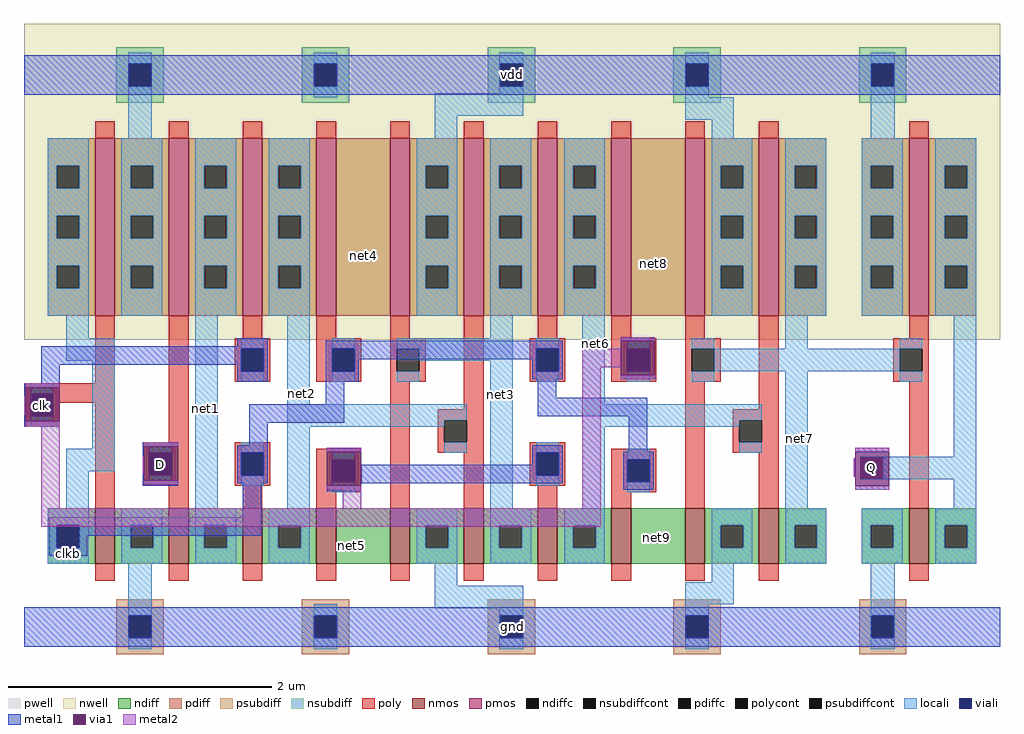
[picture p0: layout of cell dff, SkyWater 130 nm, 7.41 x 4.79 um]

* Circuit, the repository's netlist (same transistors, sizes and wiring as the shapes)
* SPICE3 file created from dff.ext - technology: sky130A


.subckt dff D Q clk vdd gnd
X0 vdd net3 net4 vdd sky130_fd_pr__pfet_01v8 ad=0 pd=0 as=0 ps=0 w=1.35 l=0.15
X1 gnd net3 net5 gnd sky130_fd_pr__nfet_01v8 ad=0 pd=0 as=0 ps=0 w=0.42 l=0.15
X2 net9 clkb net6 gnd sky130_fd_pr__nfet_01v8 ad=0 pd=0 as=0 ps=0 w=0.42 l=0.15
X3 gnd net7 net9 gnd sky130_fd_pr__nfet_01v8 ad=0 pd=0 as=0 ps=0 w=0.42 l=0.15
X4 gnd clk clkb gnd sky130_fd_pr__nfet_01v8 ad=0 pd=0 as=0 ps=0 w=0.42 l=0.15
X5 net6 clk net3 gnd sky130_fd_pr__nfet_01v8 ad=0 pd=0 as=0 ps=0 w=0.42 l=0.15
X6 net3 net2 gnd gnd sky130_fd_pr__nfet_01v8 ad=0 pd=0 as=0 ps=0 w=0.42 l=0.15
X7 net4 clkb net2 vdd sky130_fd_pr__pfet_01v8 ad=0 pd=0 as=0 ps=0 w=1.35 l=0.15
X8 net7 net6 vdd vdd sky130_fd_pr__pfet_01v8 ad=0 pd=0 as=0 ps=0 w=1.35 l=0.15
X9 net7 net6 gnd gnd sky130_fd_pr__nfet_01v8 ad=0 pd=0 as=0 ps=0 w=0.42 l=0.15
X10 net1 D vdd vdd sky130_fd_pr__pfet_01v8 ad=0 pd=0 as=0 ps=0 w=1.35 l=0.15
X11 Q net7 vdd vdd sky130_fd_pr__pfet_01v8 ad=0 pd=0 as=0 ps=0 w=1.35 l=0.15
X12 vdd clk clkb vdd sky130_fd_pr__pfet_01v8 ad=0 pd=0 as=0 ps=0 w=1.35 l=0.15
X13 net2 clk net1 vdd sky130_fd_pr__pfet_01v8 ad=0 pd=0 as=0 ps=0 w=1.35 l=0.15
X14 net8 clk net6 vdd sky130_fd_pr__pfet_01v8 ad=0 pd=0 as=0 ps=0 w=1.35 l=0.15
X15 vdd net7 net8 vdd sky130_fd_pr__pfet_01v8 ad=0 pd=0 as=0 ps=0 w=1.35 l=0.15
X16 net3 net2 vdd vdd sky130_fd_pr__pfet_01v8 ad=0 pd=0 as=0 ps=0 w=1.35 l=0.15
X17 net6 clkb net3 vdd sky130_fd_pr__pfet_01v8 ad=0 pd=0 as=0 ps=0 w=1.35 l=0.15
X18 Q net7 gnd gnd sky130_fd_pr__nfet_01v8 ad=0 pd=0 as=0 ps=0 w=0.42 l=0.15
X19 net5 clk net2 gnd sky130_fd_pr__nfet_01v8 ad=0 pd=0 as=0 ps=0 w=0.42 l=0.15
X20 net1 D gnd gnd sky130_fd_pr__nfet_01v8 ad=0 pd=0 as=0 ps=0 w=0.42 l=0.15
X21 net2 clkb net1 gnd sky130_fd_pr__nfet_01v8 ad=0 pd=0 as=0 ps=0 w=0.42 l=0.15
.ends

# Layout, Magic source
magic
tech sky130A
magscale 1 2
<< nwell >>
rect 0 436 1482 916
<< pwell >>
rect 140 -42 212 42
rect 422 -42 494 42
rect 704 -42 776 42
rect 986 -42 1058 42
rect 1268 -42 1340 42
<< nmos >>
rect 108 96 138 180
rect 220 96 250 180
rect 332 96 362 180
rect 444 96 474 180
rect 556 96 586 180
rect 668 96 698 180
rect 780 96 810 180
rect 892 96 922 180
rect 1004 96 1034 180
rect 1116 96 1146 180
rect 1344 96 1374 180
<< pmos >>
rect 108 472 138 742
rect 220 472 250 742
rect 332 472 362 742
rect 444 472 474 742
rect 556 472 586 742
rect 668 472 698 742
rect 780 472 810 742
rect 892 472 922 742
rect 1004 472 1034 742
rect 1116 472 1146 742
rect 1344 472 1374 742
<< ndiff >>
rect 36 154 108 180
rect 36 120 50 154
rect 84 120 108 154
rect 36 96 108 120
rect 138 154 220 180
rect 138 120 162 154
rect 196 120 220 154
rect 138 96 220 120
rect 250 154 332 180
rect 250 120 274 154
rect 308 120 332 154
rect 250 96 332 120
rect 362 154 444 180
rect 362 120 386 154
rect 420 120 444 154
rect 362 96 444 120
rect 474 96 556 180
rect 586 154 668 180
rect 586 120 610 154
rect 644 120 668 154
rect 586 96 668 120
rect 698 154 780 180
rect 698 120 722 154
rect 756 120 780 154
rect 698 96 780 120
rect 810 154 892 180
rect 810 120 834 154
rect 868 120 892 154
rect 810 96 892 120
rect 922 96 1004 180
rect 1034 154 1116 180
rect 1034 120 1058 154
rect 1092 120 1116 154
rect 1034 96 1116 120
rect 1146 154 1218 180
rect 1146 120 1170 154
rect 1204 120 1218 154
rect 1146 96 1218 120
rect 1272 154 1344 180
rect 1272 120 1286 154
rect 1320 120 1344 154
rect 1272 96 1344 120
rect 1374 154 1446 180
rect 1374 120 1398 154
rect 1432 120 1446 154
rect 1374 96 1446 120
<< pdiff >>
rect 36 700 108 742
rect 36 666 50 700
rect 84 666 108 700
rect 36 624 108 666
rect 36 590 50 624
rect 84 590 108 624
rect 36 548 108 590
rect 36 514 50 548
rect 84 514 108 548
rect 36 472 108 514
rect 138 700 220 742
rect 138 666 162 700
rect 196 666 220 700
rect 138 624 220 666
rect 138 590 162 624
rect 196 590 220 624
rect 138 548 220 590
rect 138 514 162 548
rect 196 514 220 548
rect 138 472 220 514
rect 250 700 332 742
rect 250 666 274 700
rect 308 666 332 700
rect 250 624 332 666
rect 250 590 274 624
rect 308 590 332 624
rect 250 548 332 590
rect 250 514 274 548
rect 308 514 332 548
rect 250 472 332 514
rect 362 700 444 742
rect 362 666 386 700
rect 420 666 444 700
rect 362 624 444 666
rect 362 590 386 624
rect 420 590 444 624
rect 362 548 444 590
rect 362 514 386 548
rect 420 514 444 548
rect 362 472 444 514
rect 474 472 556 742
rect 586 700 668 742
rect 586 666 610 700
rect 644 666 668 700
rect 586 624 668 666
rect 586 590 610 624
rect 644 590 668 624
rect 586 548 668 590
rect 586 514 610 548
rect 644 514 668 548
rect 586 472 668 514
rect 698 700 780 742
rect 698 666 722 700
rect 756 666 780 700
rect 698 624 780 666
rect 698 590 722 624
rect 756 590 780 624
rect 698 548 780 590
rect 698 514 722 548
rect 756 514 780 548
rect 698 472 780 514
rect 810 700 892 742
rect 810 666 834 700
rect 868 666 892 700
rect 810 624 892 666
rect 810 590 834 624
rect 868 590 892 624
rect 810 548 892 590
rect 810 514 834 548
rect 868 514 892 548
rect 810 472 892 514
rect 922 472 1004 742
rect 1034 700 1116 742
rect 1034 666 1058 700
rect 1092 666 1116 700
rect 1034 624 1116 666
rect 1034 590 1058 624
rect 1092 590 1116 624
rect 1034 548 1116 590
rect 1034 514 1058 548
rect 1092 514 1116 548
rect 1034 472 1116 514
rect 1146 700 1218 742
rect 1146 666 1170 700
rect 1204 666 1218 700
rect 1146 624 1218 666
rect 1146 590 1170 624
rect 1204 590 1218 624
rect 1146 548 1218 590
rect 1146 514 1170 548
rect 1204 514 1218 548
rect 1146 472 1218 514
rect 1272 700 1344 742
rect 1272 666 1286 700
rect 1320 666 1344 700
rect 1272 624 1344 666
rect 1272 590 1286 624
rect 1320 590 1344 624
rect 1272 548 1344 590
rect 1272 514 1286 548
rect 1320 514 1344 548
rect 1272 472 1344 514
rect 1374 700 1446 742
rect 1374 666 1398 700
rect 1432 666 1446 700
rect 1374 624 1446 666
rect 1374 590 1398 624
rect 1432 590 1446 624
rect 1374 548 1446 590
rect 1374 514 1398 548
rect 1432 514 1446 548
rect 1374 472 1446 514
<< ndiffc >>
rect 50 120 84 154
rect 162 120 196 154
rect 274 120 308 154
rect 386 120 420 154
rect 610 120 644 154
rect 722 120 756 154
rect 834 120 868 154
rect 1058 120 1092 154
rect 1170 120 1204 154
rect 1286 120 1320 154
rect 1398 120 1432 154
<< pdiffc >>
rect 50 666 84 700
rect 50 590 84 624
rect 50 514 84 548
rect 162 666 196 700
rect 162 590 196 624
rect 162 514 196 548
rect 274 666 308 700
rect 274 590 308 624
rect 274 514 308 548
rect 386 666 420 700
rect 386 590 420 624
rect 386 514 420 548
rect 610 666 644 700
rect 610 590 644 624
rect 610 514 644 548
rect 722 666 756 700
rect 722 590 756 624
rect 722 514 756 548
rect 834 666 868 700
rect 834 590 868 624
rect 834 514 868 548
rect 1058 666 1092 700
rect 1058 590 1092 624
rect 1058 514 1092 548
rect 1170 666 1204 700
rect 1170 590 1204 624
rect 1170 514 1204 548
rect 1286 666 1320 700
rect 1286 590 1320 624
rect 1286 514 1320 548
rect 1398 666 1432 700
rect 1398 590 1432 624
rect 1398 514 1432 548
<< psubdiff >>
rect 140 17 212 42
rect 140 -17 159 17
rect 193 -17 212 17
rect 140 -42 212 -17
rect 422 17 494 42
rect 422 -17 441 17
rect 475 -17 494 17
rect 422 -42 494 -17
rect 704 17 776 42
rect 704 -17 723 17
rect 757 -17 776 17
rect 704 -42 776 -17
rect 986 17 1058 42
rect 986 -17 1005 17
rect 1039 -17 1058 17
rect 986 -42 1058 -17
rect 1268 17 1340 42
rect 1268 -17 1287 17
rect 1321 -17 1340 17
rect 1268 -42 1340 -17
<< nsubdiff >>
rect 140 855 212 880
rect 140 821 159 855
rect 193 821 212 855
rect 140 796 212 821
rect 422 855 494 880
rect 422 821 441 855
rect 475 821 494 855
rect 422 796 494 821
rect 704 855 776 880
rect 704 821 723 855
rect 757 821 776 855
rect 704 796 776 821
rect 986 855 1058 880
rect 986 821 1005 855
rect 1039 821 1058 855
rect 986 796 1058 821
rect 1268 855 1340 880
rect 1268 821 1287 855
rect 1321 821 1340 855
rect 1268 796 1340 821
<< psubdiffcont >>
rect 159 -17 193 17
rect 441 -17 475 17
rect 723 -17 757 17
rect 1005 -17 1039 17
rect 1287 -17 1321 17
<< nsubdiffcont >>
rect 159 821 193 855
rect 441 821 475 855
rect 723 821 757 855
rect 1005 821 1039 855
rect 1287 821 1321 855
<< poly >>
rect 108 742 138 768
rect 220 742 250 768
rect 332 742 362 768
rect 444 742 474 768
rect 556 742 586 768
rect 668 742 698 768
rect 780 742 810 768
rect 892 742 922 768
rect 1004 742 1034 768
rect 1116 742 1146 768
rect 1344 742 1374 768
rect 108 370 138 472
rect 0 354 138 370
rect 0 320 10 354
rect 44 340 138 354
rect 44 320 54 340
rect 0 304 54 320
rect 108 180 138 340
rect 220 280 250 472
rect 332 438 362 472
rect 444 438 474 472
rect 556 438 586 472
rect 320 422 374 438
rect 320 388 330 422
rect 364 388 374 422
rect 320 372 374 388
rect 444 422 512 438
rect 444 388 468 422
rect 502 388 512 422
rect 444 372 512 388
rect 556 422 610 438
rect 556 388 566 422
rect 600 388 610 422
rect 556 372 610 388
rect 180 264 250 280
rect 180 230 190 264
rect 224 230 250 264
rect 180 214 250 230
rect 320 264 374 280
rect 320 230 330 264
rect 364 230 374 264
rect 320 214 374 230
rect 444 254 512 270
rect 444 220 468 254
rect 502 220 512 254
rect 220 180 250 214
rect 332 180 362 214
rect 444 204 512 220
rect 444 180 474 204
rect 556 180 586 372
rect 668 330 698 472
rect 780 438 810 472
rect 892 438 922 472
rect 1004 438 1034 472
rect 768 422 822 438
rect 768 388 778 422
rect 812 388 822 422
rect 768 372 822 388
rect 892 422 960 438
rect 892 388 916 422
rect 950 388 960 422
rect 892 372 960 388
rect 1004 422 1058 438
rect 1004 388 1014 422
rect 1048 388 1058 422
rect 1004 372 1058 388
rect 628 314 698 330
rect 628 280 638 314
rect 672 280 698 314
rect 628 264 698 280
rect 668 180 698 264
rect 768 264 822 280
rect 768 230 778 264
rect 812 230 822 264
rect 768 214 822 230
rect 892 254 960 270
rect 892 220 916 254
rect 950 220 960 254
rect 780 180 810 214
rect 892 204 960 220
rect 892 180 922 204
rect 1004 180 1034 372
rect 1116 330 1146 472
rect 1344 438 1374 472
rect 1320 422 1374 438
rect 1320 388 1330 422
rect 1364 388 1374 422
rect 1320 372 1374 388
rect 1076 314 1146 330
rect 1076 280 1086 314
rect 1120 280 1146 314
rect 1076 264 1146 280
rect 1116 180 1146 264
rect 1344 180 1374 372
rect 108 70 138 96
rect 220 70 250 96
rect 332 70 362 96
rect 444 70 474 96
rect 556 70 586 96
rect 668 70 698 96
rect 780 70 810 96
rect 892 70 922 96
rect 1004 70 1034 96
rect 1116 70 1146 96
rect 1344 70 1374 96
<< polycont >>
rect 10 320 44 354
rect 330 388 364 422
rect 468 388 502 422
rect 566 388 600 422
rect 190 230 224 264
rect 330 230 364 264
rect 468 220 502 254
rect 778 388 812 422
rect 916 388 950 422
rect 1014 388 1048 422
rect 638 280 672 314
rect 778 230 812 264
rect 916 220 950 254
rect 1330 388 1364 422
rect 1086 280 1120 314
<< locali >>
rect 158 855 194 872
rect 158 821 159 855
rect 193 821 194 855
rect 158 742 194 821
rect 440 855 476 872
rect 440 821 441 855
rect 475 821 476 855
rect 440 804 476 821
rect 722 855 758 872
rect 722 821 723 855
rect 757 821 758 855
rect 722 810 758 821
rect 624 776 758 810
rect 1004 855 1040 872
rect 1004 821 1005 855
rect 1039 821 1040 855
rect 1004 804 1040 821
rect 1286 855 1322 872
rect 1286 821 1287 855
rect 1321 821 1322 855
rect 624 742 658 776
rect 1004 770 1078 804
rect 1044 742 1078 770
rect 1286 742 1322 821
rect 36 700 98 742
rect 36 666 50 700
rect 84 666 98 700
rect 36 624 98 666
rect 36 590 50 624
rect 84 590 98 624
rect 36 548 98 590
rect 36 514 50 548
rect 84 514 98 548
rect 36 472 98 514
rect 148 700 210 742
rect 148 666 162 700
rect 196 666 210 700
rect 148 624 210 666
rect 148 590 162 624
rect 196 590 210 624
rect 148 548 210 590
rect 148 514 162 548
rect 196 514 210 548
rect 148 472 210 514
rect 260 700 322 742
rect 260 666 274 700
rect 308 666 322 700
rect 260 624 322 666
rect 260 590 274 624
rect 308 590 322 624
rect 260 548 322 590
rect 260 514 274 548
rect 308 514 322 548
rect 260 472 322 514
rect 372 700 434 742
rect 372 666 386 700
rect 420 666 434 700
rect 372 624 434 666
rect 372 590 386 624
rect 420 590 434 624
rect 372 548 434 590
rect 372 514 386 548
rect 420 514 434 548
rect 372 472 434 514
rect 596 700 658 742
rect 596 666 610 700
rect 644 666 658 700
rect 596 624 658 666
rect 596 590 610 624
rect 644 590 658 624
rect 596 548 658 590
rect 596 514 610 548
rect 644 514 658 548
rect 596 472 658 514
rect 708 700 770 742
rect 708 666 722 700
rect 756 666 770 700
rect 708 624 770 666
rect 708 590 722 624
rect 756 590 770 624
rect 708 548 770 590
rect 708 514 722 548
rect 756 514 770 548
rect 708 472 770 514
rect 820 700 882 742
rect 820 666 834 700
rect 868 666 882 700
rect 820 624 882 666
rect 820 590 834 624
rect 868 590 882 624
rect 820 548 882 590
rect 820 514 834 548
rect 868 514 882 548
rect 820 472 882 514
rect 1044 700 1106 742
rect 1044 666 1058 700
rect 1092 666 1106 700
rect 1044 624 1106 666
rect 1044 590 1058 624
rect 1092 590 1106 624
rect 1044 548 1106 590
rect 1044 514 1058 548
rect 1092 514 1106 548
rect 1044 472 1106 514
rect 1156 700 1218 742
rect 1156 666 1170 700
rect 1204 666 1218 700
rect 1156 624 1218 666
rect 1156 590 1170 624
rect 1204 590 1218 624
rect 1156 548 1218 590
rect 1156 514 1170 548
rect 1204 514 1218 548
rect 1156 472 1218 514
rect 1272 700 1334 742
rect 1272 666 1286 700
rect 1320 666 1334 700
rect 1272 624 1334 666
rect 1272 590 1286 624
rect 1320 590 1334 624
rect 1272 548 1334 590
rect 1272 514 1286 548
rect 1320 514 1334 548
rect 1272 472 1334 514
rect 1384 700 1446 742
rect 1384 666 1398 700
rect 1432 666 1446 700
rect 1384 624 1446 666
rect 1384 590 1398 624
rect 1432 590 1446 624
rect 1384 548 1446 590
rect 1384 514 1398 548
rect 1432 514 1446 548
rect 1384 472 1446 514
rect 64 438 98 472
rect 64 404 138 438
rect 10 354 44 370
rect 10 304 44 320
rect 104 270 138 404
rect 64 236 138 270
rect 190 264 224 280
rect 64 180 98 236
rect 190 214 224 230
rect 260 180 294 472
rect 330 422 364 438
rect 330 372 364 388
rect 400 338 434 472
rect 708 438 742 472
rect 468 422 502 438
rect 468 372 502 388
rect 566 422 742 438
rect 600 404 742 422
rect 566 372 600 388
rect 400 314 672 338
rect 400 304 638 314
rect 330 264 364 280
rect 330 214 364 230
rect 400 180 434 304
rect 468 254 502 270
rect 638 264 672 280
rect 468 204 502 220
rect 708 180 742 404
rect 778 422 812 438
rect 778 372 812 388
rect 848 338 882 472
rect 916 422 950 438
rect 916 372 950 388
rect 1014 422 1048 438
rect 1156 422 1190 472
rect 1330 422 1364 438
rect 1048 388 1330 422
rect 1014 372 1048 388
rect 848 314 1120 338
rect 848 304 1086 314
rect 778 264 812 280
rect 778 214 812 230
rect 848 180 882 304
rect 916 254 950 270
rect 1086 264 1120 280
rect 916 204 950 220
rect 1156 180 1190 388
rect 1330 372 1364 388
rect 1412 258 1446 472
rect 1304 224 1446 258
rect 1412 180 1446 224
rect 36 154 98 180
rect 36 120 50 154
rect 84 120 98 154
rect 36 96 98 120
rect 148 154 210 180
rect 148 120 162 154
rect 196 120 210 154
rect 148 96 210 120
rect 260 154 322 180
rect 260 120 274 154
rect 308 120 322 154
rect 260 96 322 120
rect 372 154 434 180
rect 372 120 386 154
rect 420 120 434 154
rect 372 96 434 120
rect 596 154 658 180
rect 596 120 610 154
rect 644 120 658 154
rect 596 96 658 120
rect 708 154 770 180
rect 708 120 722 154
rect 756 120 770 154
rect 708 96 770 120
rect 820 154 882 180
rect 820 120 834 154
rect 868 120 882 154
rect 820 96 882 120
rect 1044 154 1106 180
rect 1044 120 1058 154
rect 1092 120 1106 154
rect 1044 96 1106 120
rect 1156 154 1218 180
rect 1156 120 1170 154
rect 1204 120 1218 154
rect 1156 96 1218 120
rect 1272 154 1334 180
rect 1272 120 1286 154
rect 1320 120 1334 154
rect 1272 96 1334 120
rect 1384 154 1446 180
rect 1384 120 1398 154
rect 1432 120 1446 154
rect 1384 96 1446 120
rect 158 17 194 96
rect 624 62 658 96
rect 1044 68 1078 96
rect 158 -17 159 17
rect 193 -17 194 17
rect 158 -34 194 -17
rect 440 17 476 34
rect 624 28 758 62
rect 440 -17 441 17
rect 475 -17 476 17
rect 440 -34 476 -17
rect 722 17 758 28
rect 722 -17 723 17
rect 757 -17 758 17
rect 722 -34 758 -17
rect 1004 34 1078 68
rect 1004 17 1040 34
rect 1004 -17 1005 17
rect 1039 -17 1040 17
rect 1004 -34 1040 -17
rect 1286 17 1322 96
rect 1286 -17 1287 17
rect 1321 -17 1322 17
rect 1286 -34 1322 -17
<< viali >>
rect 159 821 193 855
rect 441 821 475 855
rect 723 821 757 855
rect 1005 821 1039 855
rect 1287 821 1321 855
rect 10 320 44 354
rect 190 230 224 264
rect 330 388 364 422
rect 468 388 502 422
rect 330 230 364 264
rect 468 220 502 254
rect 778 388 812 422
rect 916 388 950 422
rect 778 230 812 264
rect 916 220 950 254
rect 1270 224 1304 258
rect 50 120 84 154
rect 159 -17 193 17
rect 441 -17 475 17
rect 723 -17 757 17
rect 1005 -17 1039 17
rect 1287 -17 1321 17
<< metal1 >>
rect 0 855 1482 868
rect 0 821 159 855
rect 193 821 441 855
rect 475 821 723 855
rect 757 821 1005 855
rect 1039 821 1287 855
rect 1321 821 1482 855
rect 0 808 1482 821
rect 324 426 370 438
rect 906 434 958 440
rect 26 422 370 426
rect 26 398 330 422
rect 26 370 54 398
rect 324 388 330 398
rect 364 388 370 422
rect 324 372 370 388
rect 458 422 818 434
rect 458 388 468 422
rect 502 406 778 422
rect 502 388 508 406
rect 458 372 508 388
rect 772 388 778 406
rect 812 388 818 422
rect 772 376 818 388
rect 906 376 958 382
rect 0 364 54 370
rect 0 312 2 364
rect 458 338 486 372
rect 0 304 54 312
rect 342 310 486 338
rect 780 348 808 376
rect 780 320 946 348
rect 180 274 234 280
rect 342 276 370 310
rect 180 222 182 274
rect 180 214 234 222
rect 324 264 370 276
rect 324 230 330 264
rect 364 230 370 264
rect 324 218 370 230
rect 460 266 512 272
rect 772 264 818 276
rect 918 266 946 320
rect 1262 266 1314 272
rect 772 246 778 264
rect 512 230 778 246
rect 812 230 818 264
rect 332 166 360 218
rect 512 218 818 230
rect 910 254 956 266
rect 910 220 916 254
rect 950 220 956 254
rect 460 206 512 214
rect 910 208 956 220
rect 1262 208 1314 214
rect 38 154 360 166
rect 38 120 50 154
rect 84 138 360 154
rect 84 120 96 138
rect 38 108 96 120
rect 0 17 1482 30
rect 0 -17 159 17
rect 193 -17 441 17
rect 475 -17 723 17
rect 757 -17 1005 17
rect 1039 -17 1287 17
rect 1321 -17 1482 17
rect 0 -30 1482 -17
<< via1 >>
rect 906 422 958 434
rect 906 388 916 422
rect 916 388 950 422
rect 950 388 958 422
rect 906 382 958 388
rect 2 354 54 364
rect 2 320 10 354
rect 10 320 44 354
rect 44 320 54 354
rect 2 312 54 320
rect 182 264 234 274
rect 182 230 190 264
rect 190 230 224 264
rect 224 230 234 264
rect 182 222 234 230
rect 460 254 512 266
rect 460 220 468 254
rect 468 220 502 254
rect 502 220 512 254
rect 460 214 512 220
rect 1262 258 1314 266
rect 1262 224 1270 258
rect 1270 224 1304 258
rect 1304 224 1314 258
rect 1262 214 1314 224
<< metal2 >>
rect 906 434 958 440
rect 848 394 906 422
rect 2 364 54 370
rect 0 322 2 350
rect 2 304 54 312
rect 26 180 54 304
rect 182 274 234 280
rect 180 232 182 260
rect 182 216 234 222
rect 460 266 512 272
rect 460 208 512 214
rect 484 180 512 208
rect 848 180 876 394
rect 906 376 958 382
rect 1262 266 1314 272
rect 1260 228 1262 256
rect 1262 208 1314 214
rect 26 152 876 180
<< labels >>
rlabel metal1 s 68 112 68 112 4 clkb
rlabel locali s 276 332 276 332 4 net1
rlabel locali s 422 354 422 354 4 net2
rlabel mvpsubdiff s 516 564 516 564 4 net4
rlabel mvpsubdiff s 498 124 498 124 4 net5
rlabel locali s 724 352 724 352 4 net3
rlabel locali s 868 430 868 430 4 net6
rlabel locali s 1178 286 1178 286 4 net7
rlabel mvpsubdiff s 956 552 956 552 4 net8
rlabel mvpsubdiff s 960 136 960 136 4 net9
rlabel metal2 s 0 322 54 350 4 clk
port 1 nsew
rlabel metal1 s 0 808 1482 868 4 vdd
port 2 nsew
rlabel metal1 s 0 -30 1482 30 4 gnd
port 3 nsew
rlabel metal2 s 180 232 234 260 4 D
port 4 nsew
rlabel metal2 s 1260 228 1314 256 4 Q
port 5 nsew
rlabel metal2 s 207 246 207 246 4 D
rlabel metal2 s 1287 242 1287 242 4 Q
rlabel metal2 s 27 336 27 336 4 clk
rlabel metal1 s 741 838 741 838 4 vdd
rlabel metal1 s 741 0 741 0 4 gnd
<< properties >>
string FIXED_BBOX 0 0 1482 838
string GDS_FILE sram_0rw2r1w_2_16_sky130A.gds
string GDS_END 515886
string GDS_START 494506
<< end >>
